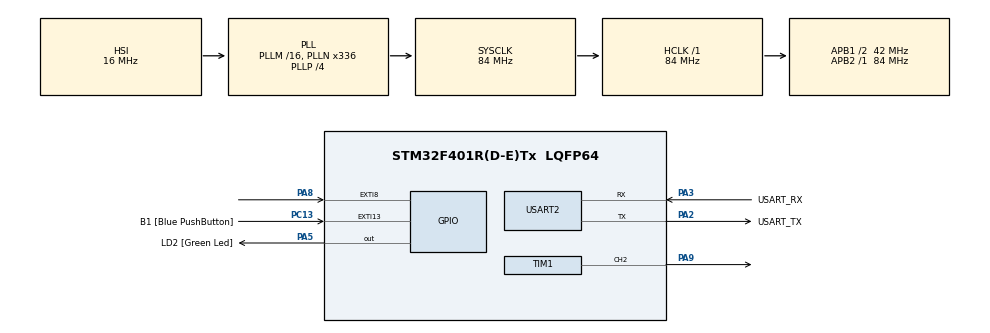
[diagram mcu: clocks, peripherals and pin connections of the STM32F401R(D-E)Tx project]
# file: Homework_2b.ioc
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Mcu.Family=STM32F4
Mcu.Name=STM32F401R(D-E)Tx
Mcu.Package=LQFP64
NVIC.EXTI9_5_IRQn=true\:0\:0\:false\:false\:true\:true\:true\:true
NVIC.PriorityGroup=NVIC_PRIORITYGROUP_0
NVIC.TIM2_IRQn=true\:0\:0\:false\:false\:true\:true\:true\:true
NVIC.USART2_IRQn=true\:0\:0\:false\:false\:true\:true\:true\:true
PA13.GPIO_Label=TMS
PA13.Mode=Serial_Wire
PA13.Signal=SYS_JTMS-SWDIO
PA14.GPIO_Label=TCK
PA14.Mode=Serial_Wire
PA14.Signal=SYS_JTCK-SWCLK
PA2.GPIO_Label=USART_TX
PA2.GPIO_Mode=GPIO_MODE_AF_PP
PA2.GPIO_PuPd=GPIO_NOPULL
PA2.GPIO_Speed=GPIO_SPEED_FREQ_LOW
PA2.Mode=Asynchronous
PA2.Signal=USART2_TX
PA3.GPIO_Label=USART_RX
PA3.GPIO_Mode=GPIO_MODE_AF_PP
PA3.GPIO_PuPd=GPIO_NOPULL
PA3.GPIO_Speed=GPIO_SPEED_FREQ_LOW
PA3.Mode=Asynchronous
PA3.Signal=USART2_RX
PA5.GPIO_Label=LD2 [Green Led]
PA5.GPIO_Mode=GPIO_MODE_OUTPUT_PP
PA5.GPIO_PuPd=GPIO_NOPULL
PA5.GPIO_Speed=GPIO_SPEED_FREQ_LOW
PA5.Signal=GPIO_Output
PA8.Signal=GPXTI8
PA9.Signal=S_TIM1_CH2
PB3.GPIO_Label=SWO
PB3.Signal=SYS_JTDO-SWO
PC13-ANTI_TAMP.GPIO_Label=B1 [Blue PushButton]
PC13-ANTI_TAMP.GPIO_ModeDefaultEXTI=GPIO_MODE_IT_FALLING
PC13-ANTI_TAMP.GPIO_PuPd=GPIO_NOPULL
PC13-ANTI_TAMP.Signal=GPXTI13
PC14-OSC32_IN.Mode=LSE-External-Oscillator
PC14-OSC32_IN.Signal=RCC_OSC32_IN
PC15-OSC32_OUT.Mode=LSE-External-Oscillator
PC15-OSC32_OUT.Signal=RCC_OSC32_OUT
PH0\ -\ OSC_IN.Mode=HSE-External-Clock-Source
PH0\ -\ OSC_IN.Signal=RCC_OSC_IN
PH1\ -\ OSC_OUT.Mode=HSE-External-Clock-Source
PH1\ -\ OSC_OUT.Signal=RCC_OSC_OUT
ProjectManager.HeapSize=0x200
ProjectManager.StackSize=0x400
ProjectManager.TargetToolchain=STM32CubeIDE
RCC.48MHZClocksFreq_Value=48000000
RCC.AHBFreq_Value=84000000
RCC.APB1CLKDivider=RCC_HCLK_DIV2
RCC.APB1Freq_Value=42000000
RCC.APB1TimFreq_Value=84000000
RCC.APB2Freq_Value=84000000
RCC.APB2TimFreq_Value=84000000
RCC.CortexFreq_Value=84000000
RCC.HCLKFreq_Value=84000000
RCC.HSE_VALUE=8000000
RCC.HSI_VALUE=16000000
RCC.PLLN=336
RCC.PLLP=RCC_PLLP_DIV4
RCC.PLLQ=7
RCC.SYSCLKFreq_VALUE=84000000
RCC.SYSCLKSource=RCC_SYSCLKSOURCE_PLLCLK
RCC.VCOOutputFreq_Value=336000000
SH.S_TIM1_CH2.0=TIM1_CH2,PWM Generation2 CH2
TIM1.Channel-PWM\ Generation2\ CH2=TIM_CHANNEL_2
TIM1.Period=1909-1
TIM1.Prescaler=100-1
TIM1.Pulse-PWM\ Generation2\ CH2=955-1
TIM2.Period=10000-1
TIM2.Prescaler=8400-1
USART2.VirtualMode=VM_ASYNC
VP_TIM1_VS_ClockSourceINT.Mode=Internal
VP_TIM2_VS_ClockSourceINT.Mode=Internal
board=NUCLEO-F401RE

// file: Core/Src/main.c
/* USER CODE BEGIN Header */
/**
  ******************************************************************************
  * @file           : main.c
  * @brief          : Main program body
  ******************************************************************************
  * @attention
  *
  * Copyright (c) 2023 STMicroelectronics.
  * All rights reserved.
  *
  * This software is licensed under terms that can be found in the LICENSE file
  * in the root directory of this software component.
  * If no LICENSE file comes with this software, it is provided AS-IS.
  *
  ******************************************************************************
  */
/* USER CODE END Header */
#include "main.h"

/* USER CODE BEGIN Includes */
#include <stdio.h>
/* USER CODE END Includes */

/* USER CODE BEGIN PTD */

struct note{
	int tone;
	int duration;
};

/* USER CODE END PTD */

/* USER CODE BEGIN PD */

#define _DO4 3205
#define _DOD4 3031
#define _RE4 2856
#define _RED4 2699
#define _MI4 2544
#define _FA4 2405
#define _FAD4 2269
#define _SOL4 2141
#define _SOLD4 2141
#define _LA4 1908
#define _LAD4 1801
#define _SI4 1699

#define TEMPO 75 //

/* USER CODE END PD */

TIM_HandleTypeDef htim1;
TIM_HandleTypeDef htim2;

UART_HandleTypeDef huart2;

/* USER CODE BEGIN PV */

//LONDON BRIDGE
struct note score[]={
		{_SOL4,6},
		{_LA4,2},
		{_SOL4,4},
		{_FA4,4},
		{_MI4,4},
		{_FA4,4},
		{_SOL4,8},
		{_RE4,4},
		{_MI4,4},
		{_FA4,8},
		{_MI4,4},
		{_FA4,4},
		{_SOL4,8},
		{_SOL4,6},
		{_LA4,2},
		{_SOL4,4},
		{_FA4,4},
		{_MI4,4},
		{_FA4,4},
		{_SOL4,8},
		{_RE4,8},
		{_SOL4,8},
		{_MI4,4},
		{_DO4,12}
};

int note_counter = 0;
int song_playing = 0;

/* USER CODE END PV */

void SystemClock_Config(void);
static void MX_GPIO_Init(void);
static void MX_USART2_UART_Init(void);
static void MX_TIM1_Init(void);
static void MX_TIM2_Init(void);

/* USER CODE BEGIN 0 */

void playnote(struct note note_playing){

	//---------------------------------------- Timer 1 ----------------------------------------
	//TIM1 configuration
	TIM_OC_InitTypeDef sConfigOC = {0};
	htim1.Init.Period = note_playing.tone;
	sConfigOC.OCMode = TIM_OCMODE_PWM1;
	sConfigOC.Pulse = note_playing.tone/2;
	sConfigOC.OCPolarity = TIM_OCPOLARITY_HIGH;
	sConfigOC.OCNPolarity = TIM_OCNPOLARITY_HIGH;
	sConfigOC.OCFastMode = TIM_OCFAST_DISABLE;
	sConfigOC.OCIdleState = TIM_OCIDLESTATE_RESET;
	sConfigOC.OCNIdleState = TIM_OCNIDLESTATE_RESET;

	if (HAL_TIM_Base_Init(&htim1) != HAL_OK)
	{
		Error_Handler();
	}

	if (HAL_TIM_PWM_Init(&htim1) != HAL_OK)
	{
		Error_Handler();
	}

	if (HAL_TIM_PWM_ConfigChannel(&htim1, &sConfigOC, TIM_CHANNEL_2) != HAL_OK)
	{
		Error_Handler();
	}

	//---------------------------------------- Timer 2 ----------------------------------------
	//TIM2 configuration
	__HAL_TIM_SET_AUTORELOAD(&htim2, note_playing.duration * TEMPO * 10);

	// Start PWM on TIM1
	HAL_TIM_PWM_Start(&htim1,TIM_CHANNEL_2);

	// Check note counter
	// Reset when full song is played
	note_counter++;
	if(note_counter == ((sizeof(score)/sizeof(score[0]))+1)){
		__HAL_TIM_SET_AUTORELOAD(&htim2,10);
		HAL_TIM_Base_Stop_IT(&htim2);
		HAL_TIM_PWM_Stop(&htim1,TIM_CHANNEL_2);
		note_counter = 0;
		song_playing = 0;
	}
}

void HAL_GPIO_EXTI_Callback(uint16_t GPIO_Pin){
	switch (GPIO_Pin){
		case GPIO_PIN_8:
			if (!song_playing){
				HAL_TIM_Base_Start_IT(&htim2);
				song_playing = 1;
			}
			break;
		default:
			break;
	}
}

void HAL_TIM_PeriodElapsedCallback(TIM_HandleTypeDef *htim){
	//When TIM2 triggers play the next note
	if (htim == &htim2){
			playnote(score[note_counter]);
		}
	}

/* USER CODE END 0 */

int main(void)
{

  /* MCU Configuration--------------------------------------------------------*/

  /* Reset of all peripherals, Initializes the Flash interface and the Systick. */
  HAL_Init();

  /* Configure the system clock */
  SystemClock_Config();

  /* Initialize all configured peripherals */
  MX_GPIO_Init();
  MX_USART2_UART_Init();
  MX_TIM1_Init();
  MX_TIM2_Init();

  /* Infinite loop */
  while (1)
  {

  }
}

void SystemClock_Config(void)
{
  RCC_OscInitTypeDef RCC_OscInitStruct = {0};
  RCC_ClkInitTypeDef RCC_ClkInitStruct = {0};

  /** Configure the main internal regulator output voltage
  */
  __HAL_RCC_PWR_CLK_ENABLE();
  __HAL_PWR_VOLTAGESCALING_CONFIG(PWR_REGULATOR_VOLTAGE_SCALE2);

  /** Initializes the RCC Oscillators according to the specified parameters
  * in the RCC_OscInitTypeDef structure.
  */
  RCC_OscInitStruct.OscillatorType = RCC_OSCILLATORTYPE_HSI;
  RCC_OscInitStruct.HSIState = RCC_HSI_ON;
  RCC_OscInitStruct.HSICalibrationValue = RCC_HSICALIBRATION_DEFAULT;
  RCC_OscInitStruct.PLL.PLLState = RCC_PLL_ON;
  RCC_OscInitStruct.PLL.PLLSource = RCC_PLLSOURCE_HSI;
  RCC_OscInitStruct.PLL.PLLM = 16;
  RCC_OscInitStruct.PLL.PLLN = 336;
  RCC_OscInitStruct.PLL.PLLP = RCC_PLLP_DIV4;
  RCC_OscInitStruct.PLL.PLLQ = 7;
  if (HAL_RCC_OscConfig(&RCC_OscInitStruct) != HAL_OK)
  {
    Error_Handler();
  }

  /** Initializes the CPU, AHB and APB buses clocks
  */
  RCC_ClkInitStruct.ClockType = RCC_CLOCKTYPE_HCLK|RCC_CLOCKTYPE_SYSCLK
                              |RCC_CLOCKTYPE_PCLK1|RCC_CLOCKTYPE_PCLK2;
  RCC_ClkInitStruct.SYSCLKSource = RCC_SYSCLKSOURCE_PLLCLK;
  RCC_ClkInitStruct.AHBCLKDivider = RCC_SYSCLK_DIV1;
  RCC_ClkInitStruct.APB1CLKDivider = RCC_HCLK_DIV2;
  RCC_ClkInitStruct.APB2CLKDivider = RCC_HCLK_DIV1;

  if (HAL_RCC_ClockConfig(&RCC_ClkInitStruct, FLASH_LATENCY_2) != HAL_OK)
  {
    Error_Handler();
  }
}

static void MX_TIM1_Init(void)
{

  TIM_ClockConfigTypeDef sClockSourceConfig = {0};
  TIM_MasterConfigTypeDef sMasterConfig = {0};
  TIM_OC_InitTypeDef sConfigOC = {0};
  TIM_BreakDeadTimeConfigTypeDef sBreakDeadTimeConfig = {0};

  htim1.Instance = TIM1;
  htim1.Init.Prescaler = 100-1;
  htim1.Init.CounterMode = TIM_COUNTERMODE_UP;
  htim1.Init.Period = 1909-1;
  htim1.Init.ClockDivision = TIM_CLOCKDIVISION_DIV1;
  htim1.Init.RepetitionCounter = 0;
  htim1.Init.AutoReloadPreload = TIM_AUTORELOAD_PRELOAD_DISABLE;
  if (HAL_TIM_Base_Init(&htim1) != HAL_OK)
  {
    Error_Handler();
  }
  sClockSourceConfig.ClockSource = TIM_CLOCKSOURCE_INTERNAL;
  if (HAL_TIM_ConfigClockSource(&htim1, &sClockSourceConfig) != HAL_OK)
  {
    Error_Handler();
  }
  if (HAL_TIM_PWM_Init(&htim1) != HAL_OK)
  {
    Error_Handler();
  }
  sMasterConfig.MasterOutputTrigger = TIM_TRGO_RESET;
  sMasterConfig.MasterSlaveMode = TIM_MASTERSLAVEMODE_DISABLE;
  if (HAL_TIMEx_MasterConfigSynchronization(&htim1, &sMasterConfig) != HAL_OK)
  {
    Error_Handler();
  }
  sConfigOC.OCMode = TIM_OCMODE_PWM1;
  sConfigOC.Pulse = 955-1;
  sConfigOC.OCPolarity = TIM_OCPOLARITY_HIGH;
  sConfigOC.OCNPolarity = TIM_OCNPOLARITY_HIGH;
  sConfigOC.OCFastMode = TIM_OCFAST_DISABLE;
  sConfigOC.OCIdleState = TIM_OCIDLESTATE_RESET;
  sConfigOC.OCNIdleState = TIM_OCNIDLESTATE_RESET;
  if (HAL_TIM_PWM_ConfigChannel(&htim1, &sConfigOC, TIM_CHANNEL_2) != HAL_OK)
  {
    Error_Handler();
  }
  sBreakDeadTimeConfig.OffStateRunMode = TIM_OSSR_DISABLE;
  sBreakDeadTimeConfig.OffStateIDLEMode = TIM_OSSI_DISABLE;
  sBreakDeadTimeConfig.LockLevel = TIM_LOCKLEVEL_OFF;
  sBreakDeadTimeConfig.DeadTime = 0;
  sBreakDeadTimeConfig.BreakState = TIM_BREAK_DISABLE;
  sBreakDeadTimeConfig.BreakPolarity = TIM_BREAKPOLARITY_HIGH;
  sBreakDeadTimeConfig.AutomaticOutput = TIM_AUTOMATICOUTPUT_DISABLE;
  if (HAL_TIMEx_ConfigBreakDeadTime(&htim1, &sBreakDeadTimeConfig) != HAL_OK)
  {
    Error_Handler();
  }
  HAL_TIM_MspPostInit(&htim1);

}

static void MX_TIM2_Init(void)
{

  TIM_ClockConfigTypeDef sClockSourceConfig = {0};
  TIM_MasterConfigTypeDef sMasterConfig = {0};

  htim2.Instance = TIM2;
  htim2.Init.Prescaler = 8400-1;
  htim2.Init.CounterMode = TIM_COUNTERMODE_UP;
  htim2.Init.Period = 0;
  htim2.Init.ClockDivision = TIM_CLOCKDIVISION_DIV1;
  htim2.Init.AutoReloadPreload = TIM_AUTORELOAD_PRELOAD_DISABLE;
  if (HAL_TIM_Base_Init(&htim2) != HAL_OK)
  {
    Error_Handler();
  }
  sClockSourceConfig.ClockSource = TIM_CLOCKSOURCE_INTERNAL;
  if (HAL_TIM_ConfigClockSource(&htim2, &sClockSourceConfig) != HAL_OK)
  {
    Error_Handler();
  }
  sMasterConfig.MasterOutputTrigger = TIM_TRGO_RESET;
  sMasterConfig.MasterSlaveMode = TIM_MASTERSLAVEMODE_DISABLE;
  if (HAL_TIMEx_MasterConfigSynchronization(&htim2, &sMasterConfig) != HAL_OK)
  {
    Error_Handler();
  }

}

static void MX_USART2_UART_Init(void)
{

  huart2.Instance = USART2;
  huart2.Init.BaudRate = 115200;
  huart2.Init.WordLength = UART_WORDLENGTH_8B;
  huart2.Init.StopBits = UART_STOPBITS_1;
  huart2.Init.Parity = UART_PARITY_NONE;
  huart2.Init.Mode = UART_MODE_TX_RX;
  huart2.Init.HwFlowCtl = UART_HWCONTROL_NONE;
  huart2.Init.OverSampling = UART_OVERSAMPLING_16;
  if (HAL_UART_Init(&huart2) != HAL_OK)
  {
    Error_Handler();
  }

}

static void MX_GPIO_Init(void)
{
  GPIO_InitTypeDef GPIO_InitStruct = {0};

  /* GPIO Ports Clock Enable */
  __HAL_RCC_GPIOC_CLK_ENABLE();
  __HAL_RCC_GPIOH_CLK_ENABLE();
  __HAL_RCC_GPIOA_CLK_ENABLE();
  __HAL_RCC_GPIOB_CLK_ENABLE();

  /*Configure GPIO pin Output Level */
  HAL_GPIO_WritePin(LD2_GPIO_Port, LD2_Pin, GPIO_PIN_RESET);

  /*Configure GPIO pin : B1_Pin */
  GPIO_InitStruct.Pin = B1_Pin;
  GPIO_InitStruct.Mode = GPIO_MODE_IT_FALLING;
  GPIO_InitStruct.Pull = GPIO_NOPULL;
  HAL_GPIO_Init(B1_GPIO_Port, &GPIO_InitStruct);

  /*Configure GPIO pin : LD2_Pin */
  GPIO_InitStruct.Pin = LD2_Pin;
  GPIO_InitStruct.Mode = GPIO_MODE_OUTPUT_PP;
  GPIO_InitStruct.Pull = GPIO_NOPULL;
  GPIO_InitStruct.Speed = GPIO_SPEED_FREQ_LOW;
  HAL_GPIO_Init(LD2_GPIO_Port, &GPIO_InitStruct);

  /*Configure GPIO pin : PA8 */
  GPIO_InitStruct.Pin = GPIO_PIN_8;
  GPIO_InitStruct.Mode = GPIO_MODE_IT_RISING;
  GPIO_InitStruct.Pull = GPIO_NOPULL;
  HAL_GPIO_Init(GPIOA, &GPIO_InitStruct);

  /* EXTI interrupt init*/
  HAL_NVIC_SetPriority(EXTI9_5_IRQn, 0, 0);
  HAL_NVIC_EnableIRQ(EXTI9_5_IRQn);

}

void Error_Handler(void)
{
  __disable_irq();
  while (1)
  {
  }
}
